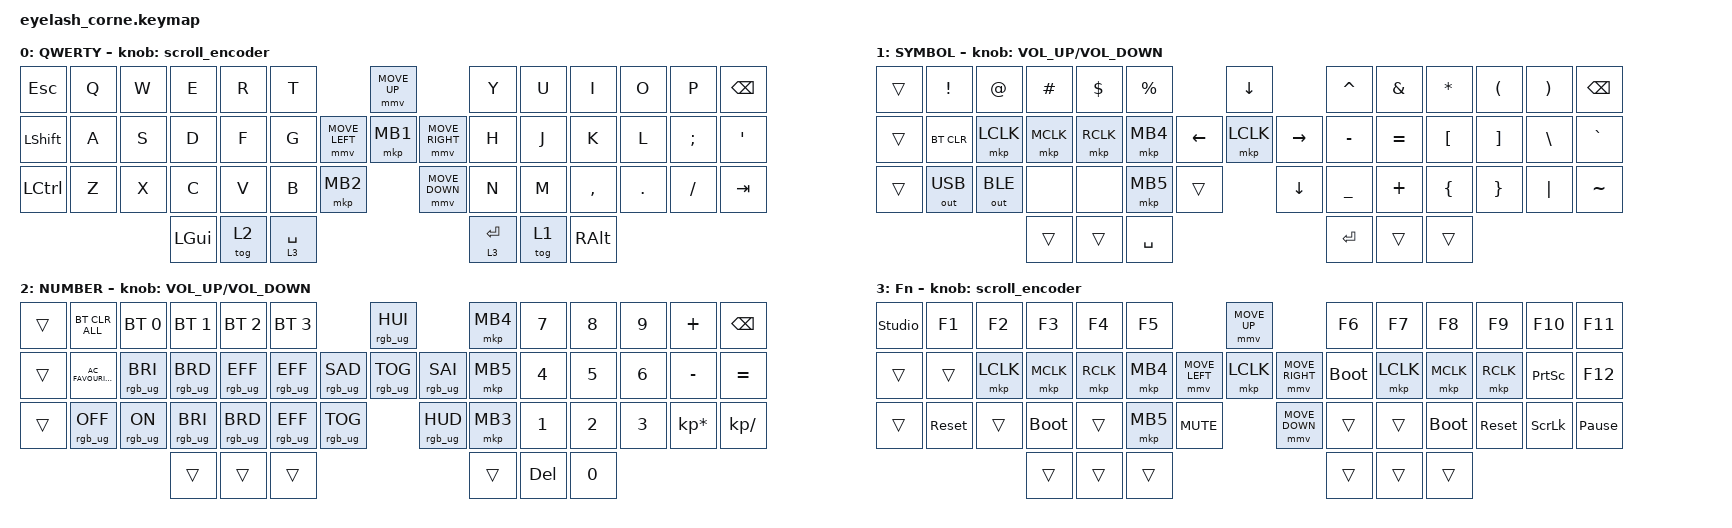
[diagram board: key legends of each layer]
#define ZMK_POINTING_DEFAULT_MOVE_VAL 1200  // 600
#define ZMK_POINTING_DEFAULT_SCRL_VAL 25   // 10

#include <input/processors.dtsi>
#include <zephyr/dt-bindings/input/input-event-codes.h>
#include <behaviors.dtsi>
#include <dt-bindings/zmk/bt.h>
#include <dt-bindings/zmk/keys.h>
#include <dt-bindings/zmk/outputs.h>
#include <dt-bindings/zmk/pointing.h>
#include <dt-bindings/zmk/rgb.h>

&mmv_input_listener { input-processors = <&zip_xy_scaler 2 1>; };

&msc_input_listener { input-processors = <&zip_scroll_scaler 2 1>; };

&msc {
    acceleration-exponent = <1>;      // 0
    time-to-max-speed-ms = <100>;       // 300
    delay-ms = <0>;                   // 0
};

&mmv {
    time-to-max-speed-ms = <500>;
    acceleration-exponent = <1>;
    trigger-period-ms = <16>;
};

/ {
    behaviors {
        td0: td0 {
            compatible = "zmk,behavior-tap-dance";
            display-name = "Shift/Caps Lock Tap Dance";
            #binding-cells = <0>;
            bindings = <&kp LEFT_SHIFT>, <&kp CAPS>;
        };
    };

    rgb_encoder: rgb_encoder {
        compatible = "zmk,behavior-sensor-rotate";
        #sensor-binding-cells = <0>;
        bindings = <&rgb_ug RGB_BRI>, <&rgb_ug RGB_BRD>;
    };

    scroll_encoder: scroll_encoder {
        compatible = "zmk,behavior-sensor-rotate";
        #sensor-binding-cells = <0>;
        bindings = <&msc SCRL_DOWN>, <&msc SCRL_UP>;

        tap-ms = <100>;
    };

    combos {
        compatible = "zmk,combos";

        MIDCLICK {
            bindings = <&mkp MCLK>;
            key-positions = <32 33>;
        };
    };

    keymap {
        compatible = "zmk,keymap";

        default_layer {
            display-name = "QWERTY";
            bindings = <
&kp ESCAPE      &kp Q  &kp W  &kp E     &kp R   &kp T                                    &mmv MOVE_UP                     &kp Y        &kp U   &kp I      &kp O    &kp P     &kp BSPC
&kp LEFT_SHIFT  &kp A  &kp S  &kp D     &kp F   &kp G                    &mmv MOVE_LEFT  &mkp MB1        &mmv MOVE_RIGHT  &kp H        &kp J   &kp K      &kp L    &kp SEMI  &kp SQT
&kp LCTRL       &kp Z  &kp X  &kp C     &kp V   &kp B        &mkp MB2                    &mmv MOVE_DOWN                   &kp N        &kp M   &kp COMMA  &kp DOT  &kp FSLH  &kp TAB
                              &kp LGUI  &tog 2  &lt 3 SPACE                                                               &lt 3 ENTER  &tog 1  &kp RALT
            >;

            sensor-bindings = <&scroll_encoder>;
        };

        raise_layer {
            display-name = "SYMBOL";
            bindings = <
&trans  &kp EXCL      &kp AT        &kp HASH   &kp DLLR   &kp PRCNT                      &kp DOWN              &kp CARET  &kp AMPS   &kp ASTRK  &kp LPAR  &kp RPAR  &kp BSPC
&trans  &bt BT_CLR    &mkp LCLK     &mkp MCLK  &mkp RCLK  &mkp MB4             &kp LEFT  &mkp LCLK  &kp RIGHT  &kp MINUS  &kp EQUAL  &kp LBKT   &kp RBKT  &kp BSLH  &kp GRAVE
&trans  &out OUT_USB  &out OUT_BLE  &none      &none      &mkp MB5   &trans              &kp DOWN              &kp UNDER  &kp PLUS   &kp LBRC   &kp RBRC  &kp PIPE  &kp TILDE
                                    &trans     &trans     &kp SPACE                                            &kp RET    &trans     &trans
            >;

            sensor-bindings = <&inc_dec_kp C_VOLUME_UP K_VOLUME_DOWN>;
        };

        lower_layer {
            display-name = "NUMBER";
            bindings = <
&trans  &bt BT_CLR_ALL       &bt BT_SEL 0     &bt BT_SEL 1     &bt BT_SEL 2     &bt BT_SEL 3                                         &rgb_ug RGB_HUI                   &mkp MB4  &kp N7        &kp N8        &kp N9        &kp PLUS         &kp BSPC
&trans  &kp C_AC_FAVOURITES  &rgb_ug RGB_BRI  &rgb_ug RGB_BRD  &rgb_ug RGB_EFF  &rgb_ug RGB_EFF                     &rgb_ug RGB_SAD  &rgb_ug RGB_TOG  &rgb_ug RGB_SAI  &mkp MB5  &kp NUMBER_4  &kp N5        &kp NUMBER_6  &kp MINUS        &kp EQUAL
&trans  &rgb_ug RGB_OFF      &rgb_ug RGB_ON   &rgb_ug RGB_BRI  &rgb_ug RGB_BRD  &rgb_ug RGB_EFF  &rgb_ug RGB_TOG                     &rgb_ug RGB_HUD                   &mkp MB3  &kp NUMBER_1  &kp NUMBER_2  &kp NUMBER_3  &kp KP_ASTERISK  &kp KP_DIVIDE
                                              &trans           &trans           &trans                                                                                 &trans    &kp DEL       &kp N0
            >;

            sensor-bindings = <&inc_dec_kp K_VOLUME_UP K_VOLUME_DOWN>;
        };

        layer_3 {
            display-name = "Fn";
            bindings = <
&studio_unlock  &kp F1      &kp F2     &kp F3       &kp F4     &kp F5                                  &mmv MOVE_UP                     &kp F6       &kp F7     &kp F8       &kp F9      &kp F10          &kp F11
&trans          &trans      &mkp LCLK  &mkp MCLK    &mkp RCLK  &mkp MB4                &mmv MOVE_LEFT  &mkp LCLK       &mmv MOVE_RIGHT  &bootloader  &mkp LCLK  &mkp MCLK    &mkp RCLK   &kp PRINTSCREEN  &kp F12
&trans          &sys_reset  &trans     &bootloader  &trans     &mkp MB5  &kp C_MUTE                    &mmv MOVE_DOWN                   &trans       &trans     &bootloader  &sys_reset  &kp SCROLLLOCK   &kp PAUSE_BREAK
                                       &trans       &trans     &trans                                                                   &trans       &trans     &trans
            >;

            sensor-bindings = <&scroll_encoder>;
        };
    };
};
